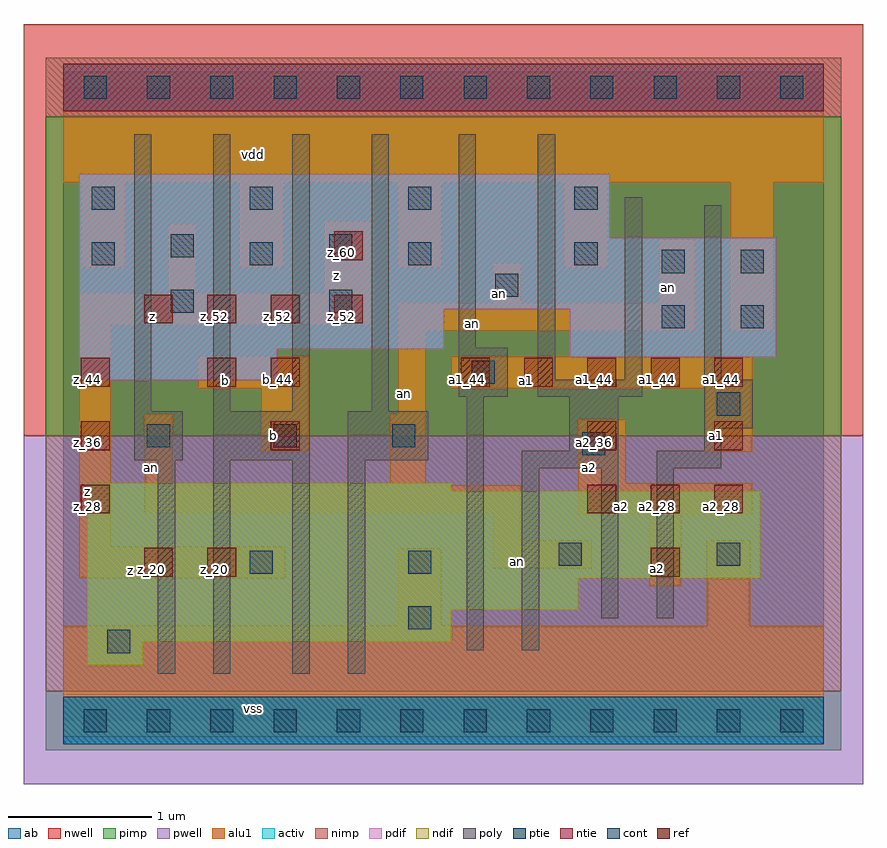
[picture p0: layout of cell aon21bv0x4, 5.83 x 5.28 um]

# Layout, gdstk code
import gdstk
lib = gdstk.Library(unit=1e-6, precision=2.5e-09)
def R(c, l, rs):  # rectangles x0, y0, x1, y1
    for r in rs: c.add(gdstk.rectangle(r[:2], r[2:], *l))
def A(c, l, x, y, w, h, nx, ny, dx, dy):  # array of equal rectangles
    R(c, l, [(x+i*dx, y+j*dy, x+i*dx+w, y+j*dy+h) for i in range(nx) for j in range(ny)])
ndif = (3, 0)
pdif = (4, 0)
ntie = (5, 0)
ptie = (6, 0)
ref = (24, 0)
cont = (25, 0)
pwell = (41, 0)
nwell = (42, 0)
activ = (43, 0)
pimp = (44, 0)
nimp = (45, 0)
poly = (46, 0)
alu1 = (49, 0)
ab = (63, 0)

aon21bv0x4 = lib.new_cell('aon21bv0x4')
R(aon21bv0x4, ndif, [(0.165,0.385,0.55,0.55), (0.165,0.55,2.695,0.77), (0.165,0.77,3.575,0.99), (0.165,0.99,4.84,1.595), (0.165,1.595,2.695,1.65)])
R(aon21bv0x4, pdif, [(0.11,2.365,1.485,2.585), (3.52,2.53,4.95,2.86), (0.11,2.585,2.64,2.86), (0.11,2.86,4.95,3.355), (0.11,3.355,3.795,3.795)])
R(aon21bv0x4, ntie, [(0,4.235,5.28,4.565)])
R(aon21bv0x4, ptie, [(0,-0.165,5.28,0.165)])
A(aon21bv0x4, ref, 0.12, 1.44, 0.2, 0.2, 1, 3, 0, 0.44)
A(aon21bv0x4, ref, 3.64, 1.44, 0.2, 0.2, 3, 1, 0.44, 0)
A(aon21bv0x4, ref, 2.76, 2.32, 0.2, 0.2, 5, 1, 0.44, 0)
A(aon21bv0x4, ref, 0.56, 2.76, 0.2, 0.2, 4, 1, 0.44, 0)
R(aon21bv0x4, ref, [(0.56,1,0.76,1.2), (1,1,1.2,1.2), (4.08,1,4.28,1.2), (1.44,1.88,1.64,2.08), (3.64,1.88,3.84,2.08), (4.52,1.88,4.72,2.08), (1,2.32,1.2,2.52), (1.44,2.32,1.64,2.52), (1.88,3.2,2.08,3.4)])
A(aon21bv0x4, cont, 0.14, -0.08, 0.16, 0.16, 12, 2, 0.44, 4.4)
A(aon21bv0x4, cont, 0.195, 3.165, 0.16, 0.16, 3, 2, 1.1, 0.385)
R(aon21bv0x4, cont, [(0.305,0.47,0.465,0.63), (2.395,0.635,2.555,0.795), (1.295,1.02,1.455,1.18), (2.395,1.02,2.555,1.18), (3.44,1.075,3.6,1.235), (4.54,1.075,4.7,1.235), (3.605,1.845,3.765,2.005), (0.58,1.9,0.74,2.06), (1.46,1.9,1.62,2.06), (2.285,1.9,2.445,2.06), (4.54,2.12,4.7,2.28), (2.835,2.34,2.995,2.5), (4.155,2.725,4.315,2.885), (4.705,2.725,4.865,2.885), (0.745,2.835,0.905,2.995), (1.845,2.835,2.005,2.995), (3,2.945,3.16,3.105), (4.155,3.11,4.315,3.27), (4.705,3.11,4.865,3.27), (3.55,3.165,3.71,3.325), (0.745,3.22,0.905,3.38), (1.845,3.22,2.005,3.38), (3.55,3.55,3.71,3.71)])
R(aon21bv0x4, pwell, [(-0.275,-0.44,5.555,1.98)])
R(aon21bv0x4, nwell, [(-0.275,1.98,5.555,4.84)])
R(aon21bv0x4, activ, [(0,-0.165,5.28,0.165), (0.165,0.385,0.55,0.55), (0.165,0.55,2.695,0.77), (0.165,0.77,3.575,0.99), (0.165,0.99,4.84,1.595), (0.165,1.595,2.695,1.65), (0.11,2.365,1.485,2.585), (3.52,2.53,4.95,2.86), (0.11,2.585,2.64,2.86), (0.11,2.86,4.95,3.355), (0.11,3.355,3.795,3.795), (0,4.235,5.28,4.565)])
R(aon21bv0x4, pimp, [(-0.125,-0.205,5.405,0.205), (-0.125,1.98,5.405,4.195)])
R(aon21bv0x4, nimp, [(-0.125,0.205,5.405,1.98), (-0.125,4.195,5.405,4.605)])
A(aon21bv0x4, poly, 0.49, 2.15, 0.12, 1.925, 4, 1, 0.55, 0)
R(aon21bv0x4, poly, [(0.655,0.325,0.775,1.81), (1.04,0.325,1.16,1.81), (1.59,0.325,1.71,1.81), (1.975,0.325,2.095,1.81), (2.8,0.49,2.92,2.25), (3.185,0.49,3.305,1.755), (3.735,0.71,3.855,1.755), (4.12,0.71,4.24,1.755), (3.185,1.755,3.855,1.875), (4.12,1.755,4.57,1.875), (0.49,1.81,0.83,2.15), (1.04,1.81,1.71,2.15), (1.975,1.81,2.535,2.15), (3.515,1.875,3.855,2.25), (4.45,1.875,4.57,2.03), (4.45,2.03,4.79,2.37), (2.745,2.25,3.085,2.59), (3.295,2.25,4.02,2.37), (3.295,2.37,3.415,4.075), (3.9,2.37,4.02,3.635), (4.45,2.37,4.57,3.58), (2.745,2.59,2.865,4.075)])
A(aon21bv0x4, alu1, 0.125, 3.15, 0.3, 0.59, 3, 1, 1.1, 0)
R(aon21bv0x4, alu1, [(0,-0.11,5.28,0.66), (2.325,0.66,2.625,1.195), (4.47,0.66,4.77,1.25), (4.07,0.935,4.29,1.43), (0.11,0.99,1.54,1.21), (2.985,1.06,3.67,1.25), (0.11,1.21,0.33,2.75), (2.985,1.25,3.175,1.445), (3.575,1.43,4.785,1.65), (0.565,1.445,3.175,1.635), (0.565,1.635,0.755,2.13), (2.27,1.635,2.515,2.13), (3.575,1.65,3.905,2.09), (1.375,1.87,1.705,2.31), (4.455,1.87,4.785,2.31), (2.325,2.13,2.515,2.71), (0.935,2.31,1.705,2.53), (2.695,2.31,4.785,2.53), (2.325,2.71,4.385,2.9), (4.635,2.71,4.935,3.74), (0.11,2.75,2.145,2.97), (2.985,2.9,3.175,3.175), (4.14,2.9,4.385,3.34), (0.73,2.97,0.92,3.45), (1.815,2.97,2.145,3.465), (3.48,3.15,3.78,3.74), (0,3.74,5.28,4.51)])
R(aon21bv0x4, ab, [(0,0,5.28,4.4)])
aon21bv0x4.add(gdstk.Label('vss', (1.32,0.0825), layer=49, texttype=0))
aon21bv0x4.add(gdstk.Label('a2', (4.125,1.0575), layer=49, texttype=0))
aon21bv0x4.add(gdstk.Label('an', (3.155,1.1075), layer=49, texttype=0))
aon21bv0x4.add(gdstk.Label('z', (0.4675,1.045), layer=49, texttype=0))
aon21bv0x4.add(gdstk.Label('a2', (3.8775,1.485), layer=49, texttype=0))
aon21bv0x4.add(gdstk.Label('a1', (4.5375,1.98), layer=49, texttype=0))
aon21bv0x4.add(gdstk.Label('a2', (3.6575,1.76), layer=49, texttype=0))
aon21bv0x4.add(gdstk.Label('a1', (3.2175,2.365), layer=49, texttype=0))
aon21bv0x4.add(gdstk.Label('an', (2.3725,2.275), layer=49, texttype=0))
aon21bv0x4.add(gdstk.Label('b', (1.4575,1.98), layer=49, texttype=0))
aon21bv0x4.add(gdstk.Label('an', (0.6125,1.7575), layer=49, texttype=0))
aon21bv0x4.add(gdstk.Label('b', (1.1275,2.365), layer=49, texttype=0))
aon21bv0x4.add(gdstk.Label('an', (2.84,2.7575), layer=49, texttype=0))
aon21bv0x4.add(gdstk.Label('z', (0.165,1.595), layer=49, texttype=0))
aon21bv0x4.add(gdstk.Label('an', (4.2,3.01), layer=49, texttype=0))
aon21bv0x4.add(gdstk.Label('an', (3.0325,2.9675), layer=49, texttype=0))
aon21bv0x4.add(gdstk.Label('z', (0.6175,2.805), layer=49, texttype=0))
aon21bv0x4.add(gdstk.Label('z', (1.8975,3.0925), layer=49, texttype=0))
aon21bv0x4.add(gdstk.Label('vdd', (1.32,3.9325), layer=49, texttype=0))
aon21bv0x4.add(gdstk.Label('z_20', (0.61,1.05), layer=24, texttype=0))
aon21bv0x4.add(gdstk.Label('z_52', (0.61,2.81), layer=24, texttype=0))
aon21bv0x4.add(gdstk.Label('z_20', (1.05,1.05), layer=24, texttype=0))
aon21bv0x4.add(gdstk.Label('b_44', (1.05,2.37), layer=24, texttype=0))
aon21bv0x4.add(gdstk.Label('z_52', (1.05,2.81), layer=24, texttype=0))
aon21bv0x4.add(gdstk.Label('b_36', (1.49,1.93), layer=24, texttype=0))
aon21bv0x4.add(gdstk.Label('b_44', (1.49,2.37), layer=24, texttype=0))
aon21bv0x4.add(gdstk.Label('z_52', (1.49,2.81), layer=24, texttype=0))
aon21bv0x4.add(gdstk.Label('z_52', (1.93,2.81), layer=24, texttype=0))
aon21bv0x4.add(gdstk.Label('z_60', (1.93,3.25), layer=24, texttype=0))
aon21bv0x4.add(gdstk.Label('z_28', (0.17,1.49), layer=24, texttype=0))
aon21bv0x4.add(gdstk.Label('z_36', (0.17,1.93), layer=24, texttype=0))
aon21bv0x4.add(gdstk.Label('z_44', (0.17,2.37), layer=24, texttype=0))
aon21bv0x4.add(gdstk.Label('a1_44', (2.81,2.37), layer=24, texttype=0))
aon21bv0x4.add(gdstk.Label('a1_44', (3.25,2.37), layer=24, texttype=0))
aon21bv0x4.add(gdstk.Label('a2_28', (3.69,1.49), layer=24, texttype=0))
aon21bv0x4.add(gdstk.Label('a2_36', (3.69,1.93), layer=24, texttype=0))
aon21bv0x4.add(gdstk.Label('a1_44', (3.69,2.37), layer=24, texttype=0))
aon21bv0x4.add(gdstk.Label('a2_20', (4.13,1.05), layer=24, texttype=0))
aon21bv0x4.add(gdstk.Label('a2_28', (4.13,1.49), layer=24, texttype=0))
aon21bv0x4.add(gdstk.Label('a1_44', (4.13,2.37), layer=24, texttype=0))
aon21bv0x4.add(gdstk.Label('a2_28', (4.57,1.49), layer=24, texttype=0))
aon21bv0x4.add(gdstk.Label('a1_36', (4.57,1.93), layer=24, texttype=0))
aon21bv0x4.add(gdstk.Label('a1_44', (4.57,2.37), layer=24, texttype=0))

lib.write_gds('aon21bv0x4.gds')
